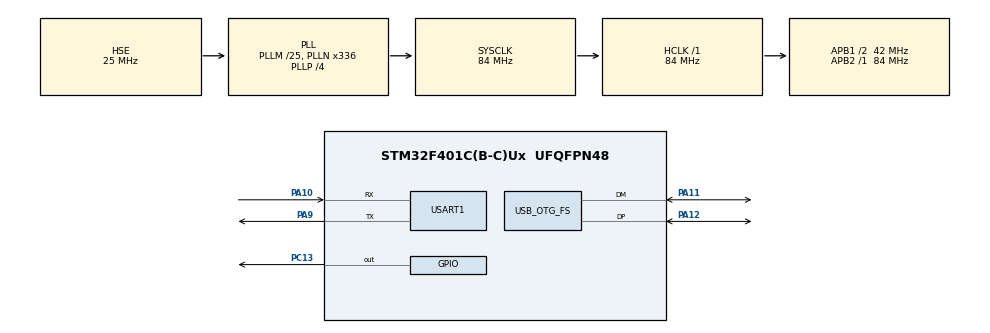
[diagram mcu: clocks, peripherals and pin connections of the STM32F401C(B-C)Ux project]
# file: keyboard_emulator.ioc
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FREERTOS.Tasks01=defaultTask,24,128,StartDefaultTask,Default,NULL,Dynamic,NULL,NULL;keyboard_emulat,24,128,StartTask02,Default,NULL,Dynamic,NULL,NULL
Mcu.Family=STM32F4
Mcu.Name=STM32F401C(B-C)Ux
Mcu.Package=UFQFPN48
NVIC.OTG_FS_IRQn=true\:5\:0\:false\:false\:true\:true\:false\:true
NVIC.PriorityGroup=NVIC_PRIORITYGROUP_4
PA10.Mode=Asynchronous
PA10.Signal=USART1_RX
PA11.Mode=Device_Only
PA11.Signal=USB_OTG_FS_DM
PA12.Mode=Device_Only
PA12.Signal=USB_OTG_FS_DP
PA13.Mode=Serial_Wire
PA13.Signal=SYS_JTMS-SWDIO
PA14.Mode=Serial_Wire
PA14.Signal=SYS_JTCK-SWCLK
PA9.Mode=Asynchronous
PA9.Signal=USART1_TX
PC13-ANTI_TAMP.Signal=GPIO_Output
PH0\ -\ OSC_IN.Mode=HSE-External-Oscillator
PH0\ -\ OSC_IN.Signal=RCC_OSC_IN
PH1\ -\ OSC_OUT.Mode=HSE-External-Oscillator
PH1\ -\ OSC_OUT.Signal=RCC_OSC_OUT
ProjectManager.HeapSize=0x200
ProjectManager.StackSize=0x400
ProjectManager.TargetToolchain=STM32CubeIDE
RCC.48MHZClocksFreq_Value=48000000
RCC.AHBFreq_Value=84000000
RCC.APB1CLKDivider=RCC_HCLK_DIV2
RCC.APB1Freq_Value=42000000
RCC.APB1TimFreq_Value=84000000
RCC.APB2Freq_Value=84000000
RCC.APB2TimFreq_Value=84000000
RCC.CortexFreq_Value=84000000
RCC.HCLKFreq_Value=84000000
RCC.HSE_VALUE=25000000
RCC.HSI_VALUE=16000000
RCC.LSE_VALUE=32768
RCC.PLLM=25
RCC.PLLN=336
RCC.PLLP=RCC_PLLP_DIV4
RCC.PLLQ=7
RCC.SYSCLKFreq_VALUE=84000000
RCC.SYSCLKSource=RCC_SYSCLKSOURCE_PLLCLK
RCC.VCOOutputFreq_Value=336000000
USART1.VirtualMode=VM_ASYNC
USB_DEVICE.CLASS_NAME_FS=HID
USB_DEVICE.USBD_DEBUG_LEVEL=3
USB_DEVICE.VirtualMode=Hid
USB_DEVICE.VirtualModeFS=Hid_FS
USB_OTG_FS.VirtualMode=Device_Only
VP_CRC_VS_CRC.Mode=CRC_Activate
VP_FREERTOS_VS_CMSIS_V2.Mode=CMSIS_V2
VP_USB_DEVICE_VS_USB_DEVICE_HID_FS.Mode=HID_FS
board=custom

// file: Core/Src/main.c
/* USER CODE BEGIN Header */
/**
  ******************************************************************************
  * @file           : main.c
  * @brief          : Main program body
  ******************************************************************************
  * @attention
  *
  * Copyright (c) 2022 STMicroelectronics.
  * All rights reserved.
  *
  * This software is licensed under terms that can be found in the LICENSE file
  * in the root directory of this software component.
  * If no LICENSE file comes with this software, it is provided AS-IS.
  *
  ******************************************************************************
  */
/* USER CODE END Header */
#include "main.h"
#include "cmsis_os.h"
#include "crc.h"
#include "usart.h"
#include "usb_device.h"
#include "gpio.h"

void SystemClock_Config(void);
void MX_FREERTOS_Init(void);

int main(void)
{

  /* MCU Configuration--------------------------------------------------------*/

  /* Reset of all peripherals, Initializes the Flash interface and the Systick. */
  HAL_Init();

  /* Configure the system clock */
  SystemClock_Config();

  /* Initialize all configured peripherals */
  MX_GPIO_Init();
  MX_USART1_UART_Init();
  MX_CRC_Init();

  /* Init scheduler */
  osKernelInitialize();  /* Call init function for freertos objects (in freertos.c) */
  MX_FREERTOS_Init();
  /* Start scheduler */
  osKernelStart();

  /* We should never get here as control is now taken by the scheduler */
  /* Infinite loop */
  while (1)
  {

  }
}

void SystemClock_Config(void)
{
  RCC_OscInitTypeDef RCC_OscInitStruct = {0};
  RCC_ClkInitTypeDef RCC_ClkInitStruct = {0};

  /** Configure the main internal regulator output voltage
  */
  __HAL_RCC_PWR_CLK_ENABLE();
  __HAL_PWR_VOLTAGESCALING_CONFIG(PWR_REGULATOR_VOLTAGE_SCALE2);
  /** Initializes the RCC Oscillators according to the specified parameters
  * in the RCC_OscInitTypeDef structure.
  */
  RCC_OscInitStruct.OscillatorType = RCC_OSCILLATORTYPE_HSE;
  RCC_OscInitStruct.HSEState = RCC_HSE_ON;
  RCC_OscInitStruct.PLL.PLLState = RCC_PLL_ON;
  RCC_OscInitStruct.PLL.PLLSource = RCC_PLLSOURCE_HSE;
  RCC_OscInitStruct.PLL.PLLM = 25;
  RCC_OscInitStruct.PLL.PLLN = 336;
  RCC_OscInitStruct.PLL.PLLP = RCC_PLLP_DIV4;
  RCC_OscInitStruct.PLL.PLLQ = 7;
  if (HAL_RCC_OscConfig(&RCC_OscInitStruct) != HAL_OK)
  {
    Error_Handler();
  }
  /** Initializes the CPU, AHB and APB buses clocks
  */
  RCC_ClkInitStruct.ClockType = RCC_CLOCKTYPE_HCLK|RCC_CLOCKTYPE_SYSCLK
                              |RCC_CLOCKTYPE_PCLK1|RCC_CLOCKTYPE_PCLK2;
  RCC_ClkInitStruct.SYSCLKSource = RCC_SYSCLKSOURCE_PLLCLK;
  RCC_ClkInitStruct.AHBCLKDivider = RCC_SYSCLK_DIV1;
  RCC_ClkInitStruct.APB1CLKDivider = RCC_HCLK_DIV2;
  RCC_ClkInitStruct.APB2CLKDivider = RCC_HCLK_DIV1;

  if (HAL_RCC_ClockConfig(&RCC_ClkInitStruct, FLASH_LATENCY_2) != HAL_OK)
  {
    Error_Handler();
  }
}

void Error_Handler(void)
{
  __disable_irq();
  while (1)
  {
  }
}

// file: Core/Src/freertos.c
/* USER CODE BEGIN Header */
/**
  ******************************************************************************
  * File Name          : freertos.c
  * Description        : Code for freertos applications
  ******************************************************************************
  * @attention
  *
  * Copyright (c) 2022 STMicroelectronics.
  * All rights reserved.
  *
  * This software is licensed under terms that can be found in the LICENSE file
  * in the root directory of this software component.
  * If no LICENSE file comes with this software, it is provided AS-IS.
  *
  ******************************************************************************
  */
/* USER CODE END Header */

#include "FreeRTOS.h"
#include "task.h"
#include "main.h"
#include "cmsis_os.h"

/* USER CODE BEGIN Includes */
#include "usb_device.h"
#include  "usbd_hid.h"
/* USER CODE END Includes */

/* Definitions for defaultTask */
osThreadId_t defaultTaskHandle;
const osThreadAttr_t defaultTask_attributes = {
  .name = "defaultTask",
  .stack_size = 128 * 4,
  .priority = (osPriority_t) osPriorityNormal,
};
/* Definitions for keyboard_emulat */
osThreadId_t keyboard_emulatHandle;
const osThreadAttr_t keyboard_emulat_attributes = {
  .name = "keyboard_emulat",
  .stack_size = 128 * 4,
  .priority = (osPriority_t) osPriorityNormal,
};

void StartDefaultTask(void *argument);
void StartTask02(void *argument);

extern void MX_USB_DEVICE_Init(void);
void MX_FREERTOS_Init(void); /* (MISRA C 2004 rule 8.1) */

void MX_FREERTOS_Init(void) {

  /* Create the thread(s) */
  /* creation of defaultTask */
  defaultTaskHandle = osThreadNew(StartDefaultTask, NULL, &defaultTask_attributes);

  /* creation of keyboard_emulat */
  keyboard_emulatHandle = osThreadNew(StartTask02, NULL, &keyboard_emulat_attributes);

}

void StartDefaultTask(void *argument)
{
  /* init code for USB_DEVICE */
  MX_USB_DEVICE_Init();
  /* USER CODE BEGIN StartDefaultTask */
  typedef struct
  {
  	uint8_t MODIFIER;
  	uint8_t RESERVED;
  	uint8_t KEYCODE1;
  	uint8_t KEYCODE2;
  	uint8_t KEYCODE3;
  	uint8_t KEYCODE4;
  	uint8_t KEYCODE5;
  	uint8_t KEYCODE6;
  } keyboardHID;

  keyboardHID keyboardhid = {0,0,0,0,0,0,0,0};

  /* Infinite loop */
  for(;;)
  {
    osDelay(100);
    keyboardhid.MODIFIER = 0x02;  // left Shift
    keyboardhid.KEYCODE1 = 0x0e;  // press 'k'
    keyboardhid.KEYCODE2 = 0x05;  // press 'b'
    keyboardhid.KEYCODE3 = 0x08;
    USBD_HID_SendReport(&hUsbDeviceFS,(void *) &keyboardhid, sizeof (keyboardhid));
    osDelay (50);

    //keyboardhid.MODIFIER = 0x00;  // shift release
    keyboardhid.KEYCODE1 = 0x00;  // release key
    keyboardhid.KEYCODE2 = 0x00;  // release key
    USBD_HID_SendReport(&hUsbDeviceFS, (void *) &keyboardhid, sizeof (keyboardhid));
    osDelay (1000);
    GPIOC->ODR ^= (1u << 13);
  }
  /* USER CODE END StartDefaultTask */
}

void StartTask02(void *argument)
{
  for(;;)
  {
    osDelay(1);
  }
}
